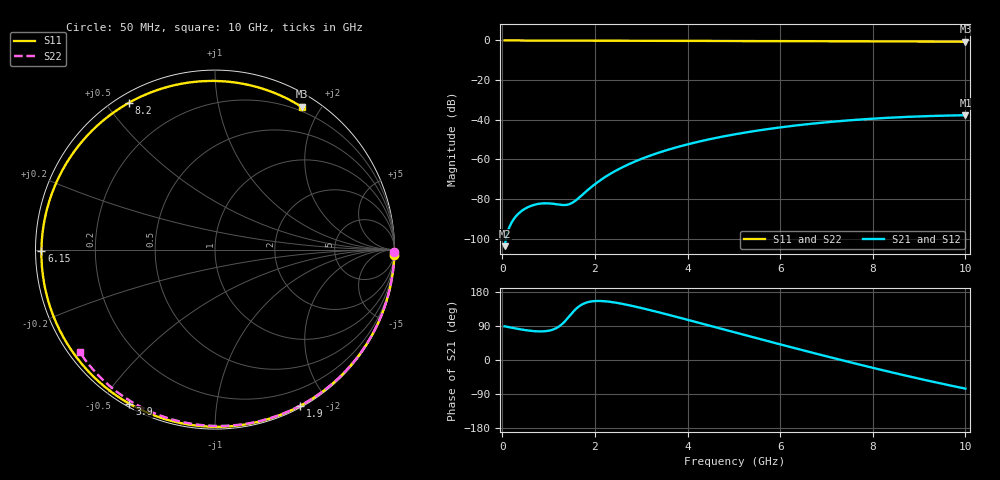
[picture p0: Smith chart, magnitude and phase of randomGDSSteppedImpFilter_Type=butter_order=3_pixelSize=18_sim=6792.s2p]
! freq	dB(S11)	phase(S11)	dB(S12)	phase(S12)
!  dB(S21)	phase(S21)	dB(S22)	phase(S22)
!S-par simulation data
#  GHz  S  DB  R 50
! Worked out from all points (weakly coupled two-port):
!   200 points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, 50 MHz to 10 GHz, reference 50 ohm
!   highest |S21| = -37.72 dB at 10 GHz (marker M1); lowest = -103.8 dB at 50 MHz (marker M2)
!   lowest |S11| = -0.6 dB at 10 GHz (marker M3), VSWR 27.72, Z = 7.46 + j88.3 ohm
!   |S11| at or under -10 dB: nowhere
!   |S22| runs from -0.5 to 0.0 dB; largest |S21 - S12| = 0
!   S11 on the Smith chart (normalised r, x): 50 MHz: 0, -68; 1.9 GHz: 0.02, -1.69; 3.9 GHz: 0.01, -0.59; 6.15 GHz: 0.02, -0.00; 8.2 GHz: 0.04, +0.57; 10 GHz: 0.15, +1.77
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0.05  -0.00 -1.7  -103.78 88.9  -103.78 88.9  -0.00 -0.8
0.8  -0.03 -26.4  -82.38 75.4  -82.38 75.4  -0.02 -13.1
1.6  -0.07 -52.0  -80.46 135.8  -80.46 135.8  -0.03 -25.9
1.75  -0.07 -56.7  -77.43 148.3  -77.43 148.3  -0.04 -28.3
1.9  -0.08 -61.3  -74.40 154.1  -74.40 154.1  -0.04 -30.7
2.2  -0.09 -70.5  -69.21 155.2  -69.21 155.2  -0.04 -35.4
2.55  -0.10 -80.9  -64.49 149.1  -64.49 149.1  -0.05 -40.8
2.95  -0.11 -92.5  -60.25 138.7  -60.25 138.7  -0.06 -47.0
3.4  -0.13 -105.3  -56.45 125.2  -56.45 125.2  -0.07 -53.8
3.9  -0.15 -119.1  -53.03 109.4  -53.03 109.4  -0.08 -61.2
4.5  -0.18 -135.3  -49.72 89.9  -49.72 89.9  -0.10 -70.0
5.05  -0.21 -150.0  -47.24 72.0  -47.24 72.0  -0.12 -77.8
5.6  -0.25 -164.6  -45.16 54.1  -45.16 54.1  -0.14 -85.4
6.15  -0.29 -179.5  -43.42 36.5  -43.42 36.5  -0.16 -92.8
6.7  -0.33 165.2  -41.96 19.1  -41.96 19.1  -0.19 -100.1
7.45  -0.40 143.5  -40.37 -4.1  -40.37 -4.1  -0.24 -109.9
8.2  -0.46 120.3  -39.18 -26.5  -39.18 -26.5  -0.30 -119.5
8.35  -0.47 115.5  -38.99 -30.9  -38.99 -30.9  -0.31 -121.4
8.8  -0.51 100.7  -38.50 -43.7  -38.50 -43.7  -0.35 -127.2
9.2  -0.55 87.0  -38.16 -54.7  -38.16 -54.7  -0.39 -132.3
9.6  -0.59 73.0  -37.90 -65.4  -37.90 -65.4  -0.44 -137.5
10  -0.63 58.8  -37.72 -75.5  -37.72 -75.5  -0.49 -142.8
